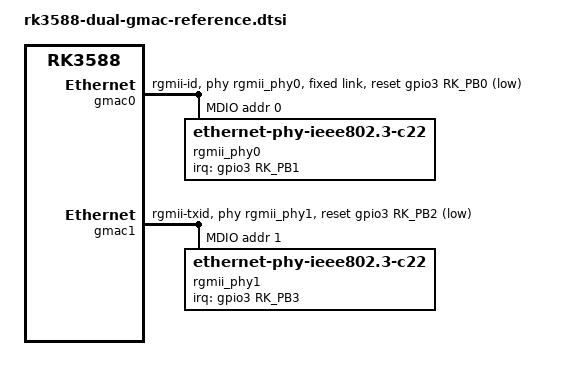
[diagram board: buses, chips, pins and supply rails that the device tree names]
// SPDX-License-Identifier: (GPL-2.0+ OR MIT)
/*
 * RK3588 Dual GMAC RGMII Configuration Reference
 *
 * 说明：本文件为设备树配置参考，基于RK3588官方SDK和Linux主线代码
 * 用途：双千兆网口适配工作中的配置参数参考
 *
 * 注意：这是一个DTSI片段（Device Tree Source Include），不是完整的DTS文件
 *      实际使用时需要包含到主DTS文件中，或编译为overlay
 *
 * 参考来源：
 * - arch/arm64/boot/dts/rockchip/rk3588.dtsi (Linux mainline)
 * - Rockchip RK3588 SDK
 * - Documentation/devicetree/bindings/net/rockchip-dwmac.txt
 *
 * 作者：基于官方文档整理
 * 日期：2025-11-19
 */

/*
 * GMAC0配置 - 网口1（工业相机网络）
 * 基地址：0xfe1b0000
 * 中断：GMAC0_IRQn
 */
&gmac0 {
    /* 基本配置 */
    status = "okay";

    /*
     * RGMII PHY模式选择
     * - rgmii: 标准RGMII，MAC提供延迟
     * - rgmii-id: PHY提供TX和RX延迟（推荐）
     * - rgmii-txid: PHY提供TX延迟，MAC提供RX延迟
     * - rgmii-rxid: MAC提供TX延迟，PHY提供RX延迟
     */
    phy-mode = "rgmii-id";

    /*
     * 时钟配置
     * - output: MAC提供时钟给PHY（标准配置）
     * - input: PHY提供时钟给MAC（特殊场景）
     */
    clock_in_out = "output";

    /*
     * PHY复位控制
     * 时序：复位前延迟 -> 复位脉冲 -> 复位后延迟
     * 单位：微秒 (us)
     */
    snps,reset-gpio = <&gpio3 RK_PB0 GPIO_ACTIVE_LOW>;
    snps,reset-active-low;
    snps,reset-delays-us = <0 20000 100000>;  /* 0us, 20ms, 100ms */

    /*
     * TX/RX延迟调整（如果PHY不提供延迟，需要手动调整）
     * 范围：0x00 - 0x7f
     * 步进：~0.03ns per step
     * 推荐起始值：TX=0x30 (1.5ns), RX=0x10 (0.5ns)
     */
    tx_delay = <0x30>;
    rx_delay = <0x10>;

    /* PHY设备句柄 */
    phy-handle = <&rgmii_phy0>;

    /*
     * MDIO总线配置
     * 用于PHY芯片通信（地址配置、寄存器读写）
     */
    mdio0 {
        compatible = "snps,dwmac-mdio";
        #address-cells = <1>;
        #size-cells = <0>;

        /*
         * PHY设备节点
         * reg: MDIO地址（0-31）
         */
        rgmii_phy0: ethernet-phy@0 {
            compatible = "ethernet-phy-ieee802.3-c22";
            reg = <0>;  /* PHY address 0 */

            /* 最大速度限制 */
            max-speed = <1000>;  /* 1000 Mbps (Gigabit) */

            /*
             * RTL8211F特定配置（Realtek PHY）
             * 根据实际使用的PHY芯片调整
             */
            realtek,clkout-disable;      /* 禁用CLKOUT引脚 */
            realtek,aldps-disable;       /* 禁用ALDPS节能模式 */
            realtek,tx-delay = <0x15>;   /* TX延迟：0.9ns */
            realtek,rx-delay = <0x1c>;   /* RX延迟：1.8ns */

            /* PHY中断配置（可选，polling也可工作） */
            interrupt-parent = <&gpio3>;
            interrupts = <RK_PB1 IRQ_TYPE_LEVEL_LOW>;
        };
    };

    /*
     * 固定链路配置（用于直连相机，不使用autoneg）
     * 如果通过交换机连接，注释掉此节点
     */
    fixed-link {
        speed = <1000>;
        full-duplex;
        pause;  /* 支持流控 */
    };
};

/*
 * GMAC1配置 - 网口2（检测结果上传网络）
 * 基地址：0xfe1c0000
 * 中断：GMAC1_IRQn
 */
&gmac1 {
    status = "okay";

    /*
     * 使用TX-only内部延迟
     * 适合与交换机连接的场景
     */
    phy-mode = "rgmii-txid";
    clock_in_out = "output";

    /* PHY复位控制（使用不同GPIO） */
    snps,reset-gpio = <&gpio3 RK_PB2 GPIO_ACTIVE_LOW>;
    snps,reset-active-low;
    snps,reset-delays-us = <0 20000 100000>;

    /* 延迟调整（根据实际测试结果优化） */
    tx_delay = <0x2f>;
    rx_delay = <0x1f>;

    phy-handle = <&rgmii_phy1>;

    mdio1 {
        compatible = "snps,dwmac-mdio";
        #address-cells = <1>;
        #size-cells = <0>;

        rgmii_phy1: ethernet-phy@1 {
            compatible = "ethernet-phy-ieee802.3-c22";
            reg = <1>;
            max-speed = <1000>;

            /*
             * YT8531C特定配置（Motorcomm PHY）
             * 如果使用其他PHY芯片，替换为对应配置
             */
            motorcomm,clk-out-frequency-hz = <125000000>;  /* 125MHz */
            motorcomm,keep-pll-enabled;
            motorcomm,auto-sleep-disabled;

            interrupt-parent = <&gpio3>;
            interrupts = <RK_PB3 IRQ_TYPE_LEVEL_LOW>;
        };
    };
};

/*
 * 引脚复用配置
 * RK3588的GMAC需要配置IOMUX将GPIO复用为RGMII功能
 */
&pinctrl {
    gmac0 {
        /*
         * GMAC0 RGMII引脚定义
         * 格式：<bank pin func flags>
         * - bank: GPIO bank (3 = GPIO3)
         * - pin: GPIO pin (RK_PB4 = PB4)
         * - func: 功能复用编号 (1 = RGMII)
         * - flags: 上拉/下拉/驱动强度配置
         */
        gmac0_rgmii_pins: gmac0-rgmii-pins {
            rockchip,pins =
                /* RGMII TX信号（4根数据线 + 控制 + 时钟） */
                <3 RK_PB4 1 &pcfg_pull_none_drv_level_2>,  /* TXD0 */
                <3 RK_PB5 1 &pcfg_pull_none_drv_level_2>,  /* TXD1 */
                <3 RK_PB6 1 &pcfg_pull_none_drv_level_2>,  /* TXD2 */
                <3 RK_PB7 1 &pcfg_pull_none_drv_level_2>,  /* TXD3 */
                <3 RK_PC0 1 &pcfg_pull_none_drv_level_2>,  /* TX_CTL */
                <3 RK_PC1 1 &pcfg_pull_none_drv_level_3>,  /* TXC (125MHz, 需要更高驱动强度) */

                /* RGMII RX信号（4根数据线 + 控制 + 时钟） */
                <3 RK_PC2 1 &pcfg_pull_none>,              /* RXD0 */
                <3 RK_PC3 1 &pcfg_pull_none>,              /* RXD1 */
                <3 RK_PC4 1 &pcfg_pull_none>,              /* RXD2 */
                <3 RK_PC5 1 &pcfg_pull_none>,              /* RXD3 */
                <3 RK_PC6 1 &pcfg_pull_none>,              /* RX_CTL */
                <3 RK_PC7 1 &pcfg_pull_none>,              /* RXC */

                /* MDIO管理接口（2根线） */
                <3 RK_PD0 1 &pcfg_pull_none>,              /* MDC */
                <3 RK_PD1 1 &pcfg_pull_none>;              /* MDIO */
        };
    };

    gmac1 {
        gmac1_rgmii_pins: gmac1-rgmii-pins {
            rockchip,pins =
                /* GMAC1使用GPIO4 bank */
                /* TX */
                <4 RK_PA0 1 &pcfg_pull_none_drv_level_2>,  /* TXD0 */
                <4 RK_PA1 1 &pcfg_pull_none_drv_level_2>,  /* TXD1 */
                <4 RK_PA2 1 &pcfg_pull_none_drv_level_2>,  /* TXD2 */
                <4 RK_PA3 1 &pcfg_pull_none_drv_level_2>,  /* TXD3 */
                <4 RK_PA4 1 &pcfg_pull_none_drv_level_2>,  /* TX_CTL */
                <4 RK_PA5 1 &pcfg_pull_none_drv_level_3>,  /* TXC */

                /* RX */
                <4 RK_PA6 1 &pcfg_pull_none>,              /* RXD0 */
                <4 RK_PA7 1 &pcfg_pull_none>,              /* RXD1 */
                <4 RK_PB0 1 &pcfg_pull_none>,              /* RXD2 */
                <4 RK_PB1 1 &pcfg_pull_none>,              /* RXD3 */
                <4 RK_PB2 1 &pcfg_pull_none>,              /* RX_CTL */
                <4 RK_PB3 1 &pcfg_pull_none>,              /* RXC */

                /* MDIO */
                <4 RK_PB4 1 &pcfg_pull_none>,              /* MDC */
                <4 RK_PB5 1 &pcfg_pull_none>;              /* MDIO */
        };
    };
};

/*
 * 时钟树配置
 * GMAC需要125MHz参考时钟（PTP时钟）
 */
&cru {
    assigned-clocks = <&cru CLK_GMAC0_PTP_REF>,
                      <&cru CLK_GMAC1_PTP_REF>;
    assigned-clock-rates = <125000000>, <125000000>;
};

/*
 * 电源域配置（可选）
 * 确保GMAC控制器供电正常
 */
&pmu_io_domains {
    gmac0-supply = <&vcc_3v3>;
    gmac1-supply = <&vcc_3v3>;
};

/*
 * =============================================================================
 * 使用说明
 * =============================================================================
 *
 * 1. 编译方法：
 *    将此文件包含到主DTS文件中：
 *    #include "rk3588-dual-gmac-reference.dtsi"
 *
 *    或编译为独立的overlay：
 *    dtc -I dts -O dtb -o rk3588-dual-gmac.dtbo rk3588-dual-gmac-reference.dtsi
 *
 * 2. 部署方法：
 *    方法A（替换主DTB）：
 *      cp rk3588-dual-gmac.dtb /boot/dtb/rk3588.dtb
 *      reboot
 *
 *    方法B（使用overlay）：
 *      cp rk3588-dual-gmac.dtbo /boot/dtb/overlays/
 *      编辑 /boot/extlinux/extlinux.conf 添加：
 *      fdtoverlays /boot/dtb/overlays/rk3588-dual-gmac.dtbo
 *      reboot
 *
 * 3. 验证方法：
 *    ls /sys/firmware/devicetree/base/ethernet@*
 *    cat /sys/firmware/devicetree/base/ethernet@fe1b0000/phy-mode
 *    dmesg | grep -i "stmmac\|dwmac"
 *    ip link show
 *
 * 4. 性能测试：
 *    sudo ./scripts/network/network_throughput_validator.sh
 *
 * =============================================================================
 * 调试指南
 * =============================================================================
 *
 * 问题1：网口无法启动
 * - 检查PHY复位GPIO是否正确
 * - 检查时钟是否配置
 * - 查看dmesg中的错误信息
 *
 * 问题2：速度不是1000Mbps
 * - 检查phy-mode是否匹配PHY芯片
 * - 调整tx_delay和rx_delay参数
 * - 确认PHY地址（reg属性）正确
 *
 * 问题3：吞吐量低
 * - 使用ethtool检查链路状态
 * - 调整系统参数（sysctl）
 * - 检查是否有丢包（ethtool -S ethX）
 *
 * =============================================================================
 * 参考文档
 * =============================================================================
 *
 * - RK3588 TRM (Technical Reference Manual)
 * - Linux Documentation: Documentation/devicetree/bindings/net/snps,dwmac.yaml
 * - STMMAC Driver: drivers/net/ethernet/stmicro/stmmac/
 * - Rockchip DWMAC: drivers/net/ethernet/stmicro/stmmac/dwmac-rk.c
 *
 * =============================================================================
 */
